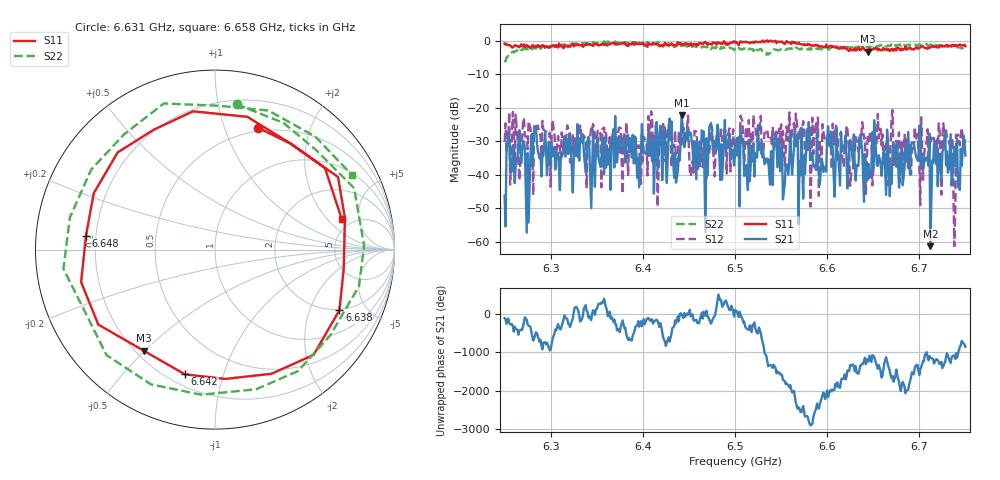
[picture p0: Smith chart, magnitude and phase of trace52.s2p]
# Hz S RI R 50
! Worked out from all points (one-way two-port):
!   401 points, 6.25 GHz to 6.75 GHz, reference 50 ohm
!   highest |S21| = -22.30 dB at 6.442 GHz (marker M1); lowest = -61.4 dB at 6.712 GHz (marker M2)
!   lowest |S11| = -3.2 dB at 6.644 GHz (marker M3), VSWR 5.43, Z = 11.6 - j24.9 ohm
!   |S11| at or under -10 dB: nowhere
!   |S22| runs from -6.2 to -0.2 dB; largest |S21 - S12| = 0.11
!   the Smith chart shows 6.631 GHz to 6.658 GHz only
!   S11 on the Smith chart (normalised r, x): 6.631 GHz: 0.46, +1.31; 6.638 GHz: 1.94, -3.24; 6.642 GHz: 0.26, -0.75; 6.648 GHz: 0.16, +0.05; 6.658 GHz: 4.10, +2.95
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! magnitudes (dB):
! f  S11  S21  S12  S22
! 6.25 GHz  -0.7  -46.3  -30.2  -5.9
! 6.256 GHz  -1.3  -36.5  -42.9  -3.5
! 6.269 GHz  -1.6  -32.8  -29.3  -2.5
! 6.275 GHz  -1.8  -33.5  -32.4  -2.5
! 6.281 GHz  -1.3  -30.7  -46.2  -2.2
! 6.334 GHz  -1.3  -30.4  -29.9  -0.8
! 6.418 GHz  -1.6  -27.6  -29.8  -0.3
! 6.436 GHz  -1.6  -42.4  -38.2  -1.2
! 6.442 GHz  -0.8  -22.3  -31.0  -1.4
! 6.5 GHz  -0.5  -29.6  -34.0  -2.3
! 6.584 GHz  -1.4  -33.7  -23.0  -2.6
! 6.631 GHz  -2.9  -41.8  -28.7  -1.7
! 6.638 GHz  -2.3  -32.3  -24.3  -1.6
! 6.642 GHz  -2.9  -39.5  -45.7  -1.8
! 6.644 GHz  -3.2  -41.5  -28.2  -1.6
! 6.648 GHz  -2.8  -39.1  -30.3  -1.4
! 6.658 GHz  -2.8  -36.5  -26.3  -1.2
! 6.668 GHz  -3.0  -46.4  -36.5  -1.5
! 6.712 GHz  -2.0  -61.4  -30.2  -1.1
! 6.729 GHz  -1.3  -37.2  -26.8  -1.6
! 6.736 GHz  -1.2  -40.1  -29.0  -1.8
! 6.75 GHz  -1.6  -34.3  -28.4  -1.8
